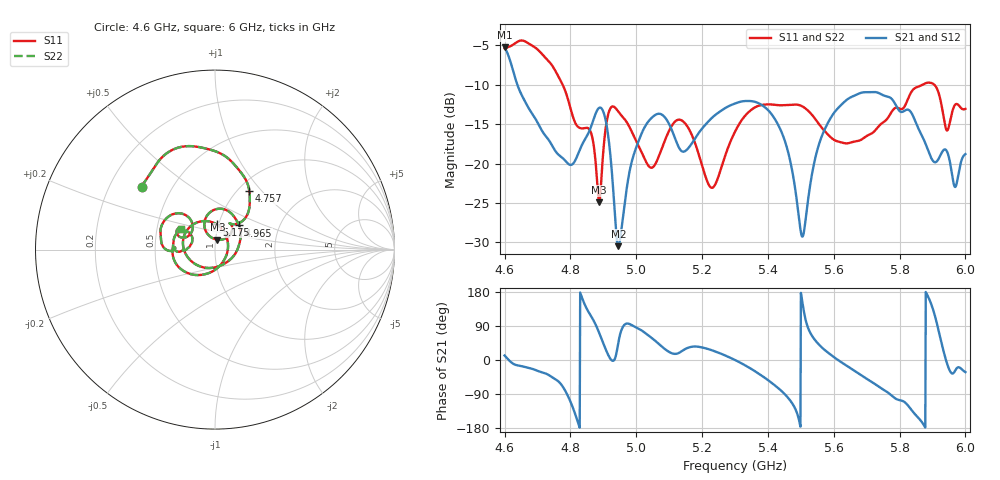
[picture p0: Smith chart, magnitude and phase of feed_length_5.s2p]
! TOUCHSTONE file generated by CST MICROWAVE STUDIO
! Date and time: Mon Dec  2 05:46:48 2024
! Project name: test_tuning.cst
! Parameters = {airCoaxOuterDiameter=3; chamferAngle=45; chamferWidth=24; connectorLength=10; drillingHoleDiameter=4.1; feedLength=70; flareDiameter=130; flareLength=70; gratingDistance=0; gratingGap=1.90274; outletLength=30; polarizerLength=134; probe1Diameter=1.3; probe1Distance=14; probe1Length=1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
! Header version: 2024
! Port assignment regex: !\s*Touchstone port\s*([0-9]+)\s*=\s*(CST MWS port|CST DES external port|CST DES block port)\s*(.+)\s* \(\"(.*)\"\)(\s*mode\s*([0-9]+))?.*
! Touchstone port assignment:
! Touchstone port 1 = CST MWS port 1 ("Input1")
! Touchstone port 2 = CST MWS port 2 ("Input2")
# GHz S MA R 50
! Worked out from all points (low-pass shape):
!   1001 points, 4.6 GHz to 6 GHz, reference 50 ohm
!   highest |S21| = -5.24 dB at 4.6 GHz (marker M1); lowest = -30.5 dB at 4.946 GHz (marker M2)
!   |S21| within 3 dB of the highest: start of sweep to 4.626 GHz
!   lowest |S11| = -24.9 dB at 4.887 GHz (marker M3), VSWR 1.12, Z = 51 + j5.66 ohm
!   |S11| at or under -10 dB: 4.776 GHz to 5.869 GHz (1.093 GHz wide, 20.5 % of centre); 5.906 GHz to end of sweep
!   |S22| runs from -24.9 to -4.4 dB; largest |S21 - S12| = 5.9e-07
!   S11 on the Smith chart (normalised r, x): 4.6 GHz: 0.34, +0.33; 4.757 GHz: 1.13, +0.86; 4.965 GHz: 1.26, +0.35; 5.175 GHz: 0.98, +0.28; 6 GHz: 0.66, +0.16
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4.6  0.5384 139.5  0.5469 11.7  0.5469 11.7  0.5384 139.5
4.6658  0.5908 102.7  0.2393 -19.2  0.2393 -19.2  0.5908 102.7
4.7568  0.3789 59.7  0.118 -52.1  0.118 -52.1  0.3789 59.7
4.8338  0.1671 60.1  0.1296 167.6  0.1296 167.6  0.1671 60.1
4.8632  0.1553 51.8  0.1727 115.0  0.1727 115.0  0.1553 51.8
4.887  0.05686 76.4  0.2255 72.4  0.2255 72.4  0.05686 76.4
4.915  0.2063 99.0  0.1486 12.9  0.1486 12.9  0.2063 99.0
4.9458  0.2132 60.5  0.02985 47.1  0.02985 47.1  0.2132 60.5
4.9654  0.1902 44.9  0.0569 93.9  0.0569 93.9  0.1902 44.9
5.0676  0.1098 -111.3  0.207 43.2  0.207 43.2  0.1098 -111.3
5.1754  0.1405 85.9  0.1406 35.6  0.1406 35.6  0.1405 85.9
5.2314  0.07017 -19.2  0.1963 25.2  0.1963 25.2  0.07017 -19.2
5.3  0.1592 -118.0  0.2405 0.0  0.2405 0.0  0.1592 -118.0
5.4302  0.2348 177.0  0.1775 -73.3  0.1775 -73.3  0.2348 177.0
5.5044  0.2308 157.2  0.0343 154.6  0.0343 154.6  0.2308 157.2
5.5338  0.2039 149.0  0.08535 64.1  0.08535 64.1  0.2039 149.0
5.6206  0.1366 158.0  0.2334 -4.5  0.2334 -4.5  0.1366 158.0
5.7676  0.1993 -176.5  0.2646 -88.0  0.2646 -88.0  0.1993 -176.5
5.9132  0.3003 138.1  0.1031 97.2  0.1031 97.2  0.3003 138.1
5.9426  0.163 142.7  0.1208 -4.7  0.1208 -4.7  0.163 142.7
5.9678  0.2347 155.9  0.07106 -29.7  0.07106 -29.7  0.2347 155.9
6  0.2223 149.1  0.1147 -32.0  0.1147 -32.0  0.2223 149.1
